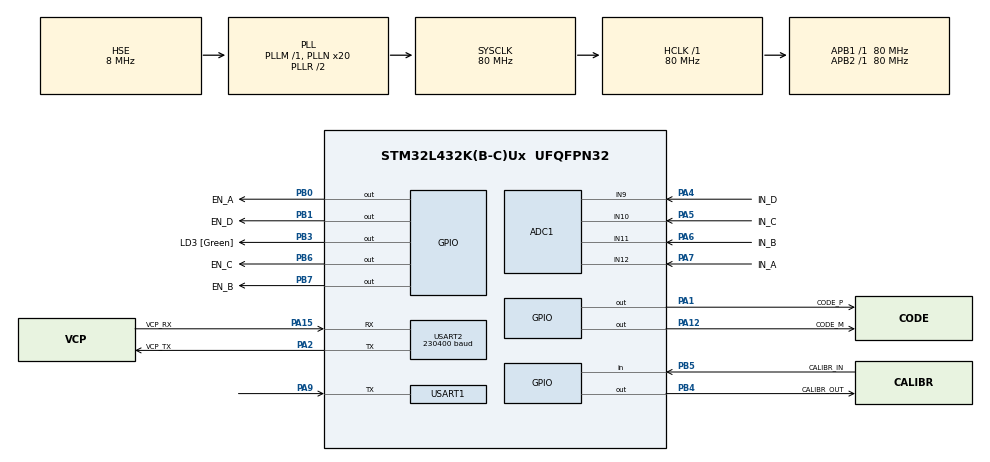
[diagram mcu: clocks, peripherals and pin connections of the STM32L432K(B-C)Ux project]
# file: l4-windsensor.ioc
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ADC1.Channel-0\#ChannelRegularConversion=ADC_CHANNEL_10
ADC1.DMAContinuousRequests=ENABLE
ADC1.ExternalTrigConv=ADC_EXTERNALTRIG_T1_TRGO
ADC1.NbrOfConversionFlag=1
ADC1.OffsetNumber-0\#ChannelRegularConversion=ADC_OFFSET_NONE
ADC1.Rank-0\#ChannelRegularConversion=1
ADC1.SamplingTime-0\#ChannelRegularConversion=ADC_SAMPLETIME_2CYCLES_5
ADC1.master=1
Dma.ADC1.0.Direction=DMA_PERIPH_TO_MEMORY
Dma.ADC1.0.Instance=DMA2_Channel3
Dma.ADC1.0.MemDataAlignment=DMA_MDATAALIGN_HALFWORD
Dma.ADC1.0.MemInc=DMA_MINC_ENABLE
Dma.ADC1.0.Mode=DMA_NORMAL
Dma.ADC1.0.PeriphDataAlignment=DMA_PDATAALIGN_HALFWORD
Dma.ADC1.0.PeriphInc=DMA_PINC_DISABLE
Dma.ADC1.0.Priority=DMA_PRIORITY_LOW
Dma.Request0=ADC1
Dma.Request1=USART2_TX
Dma.Request2=TIM2_UP
Dma.TIM2_UP.2.Direction=DMA_MEMORY_TO_PERIPH
Dma.TIM2_UP.2.Instance=DMA1_Channel2
Dma.TIM2_UP.2.MemDataAlignment=DMA_MDATAALIGN_HALFWORD
Dma.TIM2_UP.2.MemInc=DMA_MINC_ENABLE
Dma.TIM2_UP.2.Mode=DMA_NORMAL
Dma.TIM2_UP.2.PeriphDataAlignment=DMA_PDATAALIGN_HALFWORD
Dma.TIM2_UP.2.PeriphInc=DMA_PINC_DISABLE
Dma.TIM2_UP.2.Priority=DMA_PRIORITY_LOW
Dma.USART2_TX.1.Direction=DMA_MEMORY_TO_PERIPH
Dma.USART2_TX.1.Instance=DMA1_Channel7
Dma.USART2_TX.1.MemDataAlignment=DMA_MDATAALIGN_BYTE
Dma.USART2_TX.1.MemInc=DMA_MINC_ENABLE
Dma.USART2_TX.1.Mode=DMA_NORMAL
Dma.USART2_TX.1.PeriphDataAlignment=DMA_PDATAALIGN_BYTE
Dma.USART2_TX.1.PeriphInc=DMA_PINC_DISABLE
Dma.USART2_TX.1.Priority=DMA_PRIORITY_LOW
Mcu.Family=STM32L4
Mcu.Name=STM32L432K(B-C)Ux
Mcu.Package=UFQFPN32
NVIC.DMA1_Channel2_IRQn=true\:0\:0\:false\:false\:true
NVIC.DMA1_Channel7_IRQn=true\:0\:0\:false\:false\:true
NVIC.DMA2_Channel3_IRQn=true\:0\:0\:false\:false\:true
NVIC.PriorityGroup=NVIC_PRIORITYGROUP_4
PA0.GPIO_Label=MCO [High speed clock in]
PA0.Mode=HSE-External-Clock-Source-for-LittleOrca
PA0.Signal=RCC_CK_IN
PA1.GPIO_Label=CODE_P
PA1.GPIO_PuPd=GPIO_PULLDOWN
PA1.GPIO_Speed=GPIO_SPEED_FREQ_MEDIUM
PA1.Signal=GPIO_Output
PA12.GPIO_Label=CODE_M
PA12.GPIO_PuPd=GPIO_PULLDOWN
PA12.GPIO_Speed=GPIO_SPEED_FREQ_MEDIUM
PA12.Signal=GPIO_Output
PA13\ (JTMS-SWDIO).GPIO_Label=SWDIO
PA13\ (JTMS-SWDIO).Mode=Serial_Wire
PA13\ (JTMS-SWDIO).Signal=SYS_JTMS-SWDIO
PA14\ (JTCK-SWCLK).GPIO_Label=SWCLK
PA14\ (JTCK-SWCLK).Mode=Serial_Wire
PA14\ (JTCK-SWCLK).Signal=SYS_JTCK-SWCLK
PA15\ (JTDI).GPIO_Label=VCP_RX
PA15\ (JTDI).Mode=Asynchronous
PA15\ (JTDI).Signal=USART2_RX
PA2.GPIO_Label=VCP_TX
PA2.Mode=Asynchronous
PA2.Signal=USART2_TX
PA3.Signal=LPUART1_RX
PA4.GPIO_Label=IN_D
PA4.Signal=ADCx_IN9
PA5.GPIO_Label=IN_C
PA5.Signal=ADCx_IN10
PA6.GPIO_Label=IN_B
PA6.Signal=ADCx_IN11
PA7.GPIO_Label=IN_A
PA7.Signal=ADCx_IN12
PA9.Mode=Half_duplex(single_wire_mode)
PA9.Signal=USART1_TX
PB0.GPIO_Label=EN_A
PB0.GPIO_ModeDefaultOutputPP=GPIO_MODE_OUTPUT_PP
PB0.GPIO_PuPd=GPIO_PULLDOWN
PB0.GPIO_Speed=GPIO_SPEED_FREQ_LOW
PB0.PinState=GPIO_PIN_RESET
PB0.Signal=GPIO_Output
PB1.GPIO_Label=EN_D
PB1.GPIO_ModeDefaultOutputPP=GPIO_MODE_OUTPUT_PP
PB1.GPIO_PuPd=GPIO_PULLDOWN
PB1.Signal=GPIO_Output
PB3\ (JTDO-TRACESWO).GPIO_Label=LD3 [Green]
PB3\ (JTDO-TRACESWO).Signal=GPIO_Output
PB4\ (NJTRST).GPIO_Label=CALIBR_OUT
PB4\ (NJTRST).GPIO_PuPd=GPIO_PULLDOWN
PB4\ (NJTRST).Signal=GPIO_Output
PB5.GPIO_Label=CALIBR_IN
PB5.GPIO_PuPd=GPIO_PULLUP
PB5.Signal=GPIO_Input
PB6.GPIO_Label=EN_C
PB6.GPIO_PuPd=GPIO_PULLDOWN
PB6.Signal=GPIO_Output
PB7.GPIO_Label=EN_B
PB7.GPIO_PuPd=GPIO_PULLDOWN
PB7.Signal=GPIO_Output
PC14-OSC32_IN\ (PC14).Mode=LSE-External-Oscillator
PC14-OSC32_IN\ (PC14).Signal=RCC_OSC32_IN
PC15-OSC32_OUT\ (PC15).Mode=LSE-External-Oscillator
PC15-OSC32_OUT\ (PC15).Signal=RCC_OSC32_OUT
ProjectManager.HeapSize=0x200
ProjectManager.StackSize=0x400
ProjectManager.TargetToolchain=SW4STM32
RCC.ADCCLockSelection=RCC_ADCCLKSOURCE_SYSCLK
RCC.ADCFreq_Value=80000000
RCC.AHBFreq_Value=80000000
RCC.APB1Freq_Value=80000000
RCC.APB1TimFreq_Value=80000000
RCC.APB2Freq_Value=80000000
RCC.APB2TimFreq_Value=80000000
RCC.CortexFreq_Value=80000000
RCC.HCLKFreq_Value=80000000
RCC.HSE_VALUE=8000000
RCC.HSI16_VALUE=16000000
RCC.HSI48_VALUE=48000000
RCC.HSI_VALUE=16000000
RCC.MSIClockRange=RCC_MSIRANGE_4
RCC.MSI_VALUE=1000000
RCC.PLLMUL=RCC_PLLMUL_4
RCC.PLLN=20
RCC.PLLSAI1N=16
RCC.PLLSourceVirtual=RCC_PLLSOURCE_HSE
RCC.PREFETCH_ENABLE=1
RCC.SYSCLKFreq_VALUE=80000000
RCC.SYSCLKSource=RCC_SYSCLKSOURCE_PLLCLK
RCC.USBFreq_Value=64000000
RCC.VCOOutputFreq_Value=160000000
SH.ADCx_IN10.0=ADC1_IN10,IN10-Single-Ended
SH.ADCx_IN11.0=ADC1_IN11,IN11-Single-Ended
SH.ADCx_IN12.0=ADC1_IN12,IN12-Single-Ended
SH.ADCx_IN9.0=ADC1_IN9,IN9-Single-Ended
TIM1.Period=19
TIM1.TIM_MasterOutputTrigger=TIM_TRGO_UPDATE
TIM1.TIM_MasterSlaveMode=TIM_MASTERSLAVEMODE_ENABLE
TIM2.Period=49
TIM2.TIM_MasterOutputTrigger=TIM_TRGO_UPDATE
USART1.Mode=MODE_RX
USART1.SwapParam=UART_ADVFEATURE_SWAP_ENABLE
USART1.VirtualMode-Half_duplex(single_wire_mode)=VM_ASYNC
USART1.WordLength=WORDLENGTH_8B
USART2.BaudRate=230400
USART2.VirtualMode-Asynchronous=VM_ASYNC
USART2.WordLength=WORDLENGTH_8B
VP_TIM1_VS_ClockSourceINT.Mode=Internal
VP_TIM2_VS_ClockSourceITR.Mode=TriggerSource_ITR0
VP_TIM2_VS_ControllerModeClock.Mode=Clock Mode
board=NUCLEO-L432KC

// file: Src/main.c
/**
  ******************************************************************************
  * File Name          : main.c
  * Description        : Main program body
  ******************************************************************************
  ** This notice applies to any and all portions of this file
  * that are not between comment pairs USER CODE BEGIN and
  * USER CODE END. Other portions of this file, whether
  * inserted by the user or by software development tools
  * are owned by their respective copyright owners.
  *
  * COPYRIGHT(c) 2017 STMicroelectronics
  *
  * Redistribution and use in source and binary forms, with or without modification,
  * are permitted provided that the following conditions are met:
  *   1. Redistributions of source code must retain the above copyright notice,
  *      this list of conditions and the following disclaimer.
  *   2. Redistributions in binary form must reproduce the above copyright notice,
  *      this list of conditions and the following disclaimer in the documentation
  *      and/or other materials provided with the distribution.
  *   3. Neither the name of STMicroelectronics nor the names of its contributors
  *      may be used to endorse or promote products derived from this software
  *      without specific prior written permission.
  *
  * THIS SOFTWARE IS PROVIDED BY THE COPYRIGHT HOLDERS AND CONTRIBUTORS "AS IS"
  * AND ANY EXPRESS OR IMPLIED WARRANTIES, INCLUDING, BUT NOT LIMITED TO, THE
  * IMPLIED WARRANTIES OF MERCHANTABILITY AND FITNESS FOR A PARTICULAR PURPOSE ARE
  * DISCLAIMED. IN NO EVENT SHALL THE COPYRIGHT HOLDER OR CONTRIBUTORS BE LIABLE
  * FOR ANY DIRECT, INDIRECT, INCIDENTAL, SPECIAL, EXEMPLARY, OR CONSEQUENTIAL
  * DAMAGES (INCLUDING, BUT NOT LIMITED TO, PROCUREMENT OF SUBSTITUTE GOODS OR
  * SERVICES; LOSS OF USE, DATA, OR PROFITS; OR BUSINESS INTERRUPTION) HOWEVER
  * CAUSED AND ON ANY THEORY OF LIABILITY, WHETHER IN CONTRACT, STRICT LIABILITY,
  * OR TORT (INCLUDING NEGLIGENCE OR OTHERWISE) ARISING IN ANY WAY OUT OF THE USE
  * OF THIS SOFTWARE, EVEN IF ADVISED OF THE POSSIBILITY OF SUCH DAMAGE.
  *
  ******************************************************************************
  */
#include "main.h"
#include "stm32l4xx_hal.h"

/* USER CODE BEGIN Includes */
#include <windsounder.h>
#include <stdlib.h>
#include <errno.h>

/* USER CODE END Includes */

ADC_HandleTypeDef hadc1;
DMA_HandleTypeDef hdma_adc1;

TIM_HandleTypeDef htim1;
TIM_HandleTypeDef htim2;
DMA_HandleTypeDef hdma_tim2_up;

UART_HandleTypeDef huart1;
UART_HandleTypeDef huart2;
DMA_HandleTypeDef hdma_usart2_tx;

/* USER CODE BEGIN PV */
/* Private variables ---------------------------------------------------------*/

bool sendDetails = false;
/* USER CODE END PV */

void SystemClock_Config(void);
static void MX_GPIO_Init(void);
static void MX_DMA_Init(void);
static void MX_USART2_UART_Init(void);
static void MX_ADC1_Init(void);
static void MX_TIM1_Init(void);
static void MX_TIM2_Init(void);
static void MX_USART1_UART_Init(void);

/* USER CODE BEGIN PFP */
/* Private function prototypes -----------------------------------------------*/

/* USER CODE END PFP */

/* USER CODE BEGIN 0 */

#pragma clang diagnostic push
#pragma ide diagnostic ignored "OCUnusedGlobalDeclarationInspection"

int *__errno(void) {
  static int my_errno;
  return &my_errno;
}

#pragma clang diagnostic pop

void transmitFrame(const char *name, const q15_t *outRange, size_t len) {
  if (!sendDetails) return;
  uartTransmit("START\r\n");
  uartTransmit(name);
  for (int i = 0; i < len; i++) {
    char buf[50];
    itoa(outRange[i], buf, 10);
    uartTransmit("\r\n");
    uartTransmit(buf);
  }
  uartTransmit("\r\nEND\r\n");
}

bool isCalibrationJumperSet() {
  return HAL_GPIO_ReadPin(CALIBR_IN_GPIO_Port, CALIBR_IN_Pin) == GPIO_PIN_RESET;
}
/* USER CODE END 0 */

int main(void)
{

  /* MCU Configuration----------------------------------------------------------*/

  /* Reset of all peripherals, Initializes the Flash interface and the Systick. */
  HAL_Init();

  /* Configure the system clock */
  SystemClock_Config();

  /* Initialize all configured peripherals */
  MX_GPIO_Init();
  MX_DMA_Init();
  MX_USART2_UART_Init();
  MX_ADC1_Init();
  MX_TIM1_Init();
  MX_TIM2_Init();
  MX_USART1_UART_Init();

  /* USER CODE BEGIN 2 */
  __HAL_TIM_ENABLE_DMA(&htim2, TIM_DMA_UPDATE);
  HAL_TIM_Base_Start(&htim2);
  HAL_GPIO_LockPin(GPIOA, GPIO_PIN_0 | /*GPIO_PIN_1 |*/GPIO_PIN_2 | GPIO_PIN_3 |
                          GPIO_PIN_4 |   GPIO_PIN_5 |  GPIO_PIN_6 | GPIO_PIN_7 |
                          GPIO_PIN_8 |   GPIO_PIN_9 |  GPIO_PIN_10| GPIO_PIN_11|
                       /* GPIO_PIN_12|*/ GPIO_PIN_13|  GPIO_PIN_14| GPIO_PIN_15);

  /* USER CODE END 2 */

  /* Infinite loop */
  /* USER CODE BEGIN WHILE */

  if (isCalibrationJumperSet()) {
    calibrate();
  }

  checkCalibrated();
  /* Todo check if signal levels are ok*/
#pragma clang diagnostic push
#pragma clang diagnostic ignored "-Wmissing-noreturn"
  while (1)
  {
  /* USER CODE END WHILE */

  /* USER CODE BEGIN 3 */
    if(isCalibrationJumperSet()) sendDetails = true;
//    sendDetails=false;
    HAL_GPIO_TogglePin(LD3_GPIO_Port, LD3_Pin);
    performMeasurement();

    HAL_Delay(100);

  }
#pragma clang diagnostic pop
  /* USER CODE END 3 */

}

/** System Clock Configuration
*/
void SystemClock_Config(void)
{

  RCC_OscInitTypeDef RCC_OscInitStruct;
  RCC_ClkInitTypeDef RCC_ClkInitStruct;
  RCC_PeriphCLKInitTypeDef PeriphClkInit;

    /**Initializes the CPU, AHB and APB busses clocks
    */
  RCC_OscInitStruct.OscillatorType = RCC_OSCILLATORTYPE_HSE;
  RCC_OscInitStruct.HSEState = RCC_HSE_BYPASS;
  RCC_OscInitStruct.PLL.PLLState = RCC_PLL_ON;
  RCC_OscInitStruct.PLL.PLLSource = RCC_PLLSOURCE_HSE;
  RCC_OscInitStruct.PLL.PLLM = 1;
  RCC_OscInitStruct.PLL.PLLN = 20;
  RCC_OscInitStruct.PLL.PLLP = RCC_PLLP_DIV7;
  RCC_OscInitStruct.PLL.PLLQ = RCC_PLLQ_DIV2;
  RCC_OscInitStruct.PLL.PLLR = RCC_PLLR_DIV2;
  if (HAL_RCC_OscConfig(&RCC_OscInitStruct) != HAL_OK)
  {
    _Error_Handler(__FILE__, __LINE__);
  }

    /**Initializes the CPU, AHB and APB busses clocks
    */
  RCC_ClkInitStruct.ClockType = RCC_CLOCKTYPE_HCLK|RCC_CLOCKTYPE_SYSCLK
                              |RCC_CLOCKTYPE_PCLK1|RCC_CLOCKTYPE_PCLK2;
  RCC_ClkInitStruct.SYSCLKSource = RCC_SYSCLKSOURCE_PLLCLK;
  RCC_ClkInitStruct.AHBCLKDivider = RCC_SYSCLK_DIV1;
  RCC_ClkInitStruct.APB1CLKDivider = RCC_HCLK_DIV1;
  RCC_ClkInitStruct.APB2CLKDivider = RCC_HCLK_DIV1;

  if (HAL_RCC_ClockConfig(&RCC_ClkInitStruct, FLASH_LATENCY_4) != HAL_OK)
  {
    _Error_Handler(__FILE__, __LINE__);
  }

  PeriphClkInit.PeriphClockSelection = RCC_PERIPHCLK_USART1|RCC_PERIPHCLK_USART2
                              |RCC_PERIPHCLK_ADC;
  PeriphClkInit.Usart1ClockSelection = RCC_USART1CLKSOURCE_PCLK2;
  PeriphClkInit.Usart2ClockSelection = RCC_USART2CLKSOURCE_PCLK1;
  PeriphClkInit.AdcClockSelection = RCC_ADCCLKSOURCE_SYSCLK;
  if (HAL_RCCEx_PeriphCLKConfig(&PeriphClkInit) != HAL_OK)
  {
    _Error_Handler(__FILE__, __LINE__);
  }

    /**Configure the main internal regulator output voltage
    */
  if (HAL_PWREx_ControlVoltageScaling(PWR_REGULATOR_VOLTAGE_SCALE1) != HAL_OK)
  {
    _Error_Handler(__FILE__, __LINE__);
  }

    /**Configure the Systick interrupt time
    */
  HAL_SYSTICK_Config(HAL_RCC_GetHCLKFreq()/1000);

    /**Configure the Systick
    */
  HAL_SYSTICK_CLKSourceConfig(SYSTICK_CLKSOURCE_HCLK);

  /* SysTick_IRQn interrupt configuration */
  HAL_NVIC_SetPriority(SysTick_IRQn, 0, 0);
}

/* ADC1 init function */
static void MX_ADC1_Init(void)
{

  ADC_ChannelConfTypeDef sConfig;

    /**Common config
    */
  hadc1.Instance = ADC1;
  hadc1.Init.ClockPrescaler = ADC_CLOCK_ASYNC_DIV1;
  hadc1.Init.Resolution = ADC_RESOLUTION_12B;
  hadc1.Init.DataAlign = ADC_DATAALIGN_RIGHT;
  hadc1.Init.ScanConvMode = ADC_SCAN_DISABLE;
  hadc1.Init.EOCSelection = ADC_EOC_SINGLE_CONV;
  hadc1.Init.LowPowerAutoWait = DISABLE;
  hadc1.Init.ContinuousConvMode = DISABLE;
  hadc1.Init.NbrOfConversion = 1;
  hadc1.Init.DiscontinuousConvMode = DISABLE;
  hadc1.Init.NbrOfDiscConversion = 1;
  hadc1.Init.ExternalTrigConv = ADC_EXTERNALTRIG_T1_TRGO;
  hadc1.Init.ExternalTrigConvEdge = ADC_EXTERNALTRIGCONVEDGE_RISING;
  hadc1.Init.DMAContinuousRequests = ENABLE;
  hadc1.Init.Overrun = ADC_OVR_DATA_PRESERVED;
  hadc1.Init.OversamplingMode = DISABLE;
  if (HAL_ADC_Init(&hadc1) != HAL_OK)
  {
    _Error_Handler(__FILE__, __LINE__);
  }

    /**Configure Regular Channel
    */
  sConfig.Channel = ADC_CHANNEL_10;
  sConfig.Rank = 1;
  sConfig.SamplingTime = ADC_SAMPLETIME_2CYCLES_5;
  sConfig.SingleDiff = ADC_SINGLE_ENDED;
  sConfig.OffsetNumber = ADC_OFFSET_NONE;
  sConfig.Offset = 0;
  if (HAL_ADC_ConfigChannel(&hadc1, &sConfig) != HAL_OK)
  {
    _Error_Handler(__FILE__, __LINE__);
  }

}

/* TIM1 init function */
static void MX_TIM1_Init(void)
{

  TIM_ClockConfigTypeDef sClockSourceConfig;
  TIM_MasterConfigTypeDef sMasterConfig;

  htim1.Instance = TIM1;
  htim1.Init.Prescaler = 0;
  htim1.Init.CounterMode = TIM_COUNTERMODE_UP;
  htim1.Init.Period = 39;
  htim1.Init.ClockDivision = TIM_CLOCKDIVISION_DIV1;
  htim1.Init.RepetitionCounter = 0;
  if (HAL_TIM_Base_Init(&htim1) != HAL_OK)
  {
    _Error_Handler(__FILE__, __LINE__);
  }

  sClockSourceConfig.ClockSource = TIM_CLOCKSOURCE_INTERNAL;
  if (HAL_TIM_ConfigClockSource(&htim1, &sClockSourceConfig) != HAL_OK)
  {
    _Error_Handler(__FILE__, __LINE__);
  }

  sMasterConfig.MasterOutputTrigger = TIM_TRGO_UPDATE;
  sMasterConfig.MasterOutputTrigger2 = TIM_TRGO2_RESET;
  sMasterConfig.MasterSlaveMode = TIM_MASTERSLAVEMODE_ENABLE;
  if (HAL_TIMEx_MasterConfigSynchronization(&htim1, &sMasterConfig) != HAL_OK)
  {
    _Error_Handler(__FILE__, __LINE__);
  }

}

/* TIM2 init function */
static void MX_TIM2_Init(void)
{

  TIM_SlaveConfigTypeDef sSlaveConfig;
  TIM_MasterConfigTypeDef sMasterConfig;

  htim2.Instance = TIM2;
  htim2.Init.Prescaler = 0;
  htim2.Init.CounterMode = TIM_COUNTERMODE_UP;
  htim2.Init.Period = 24;
  htim2.Init.ClockDivision = TIM_CLOCKDIVISION_DIV1;
  if (HAL_TIM_Base_Init(&htim2) != HAL_OK)
  {
    _Error_Handler(__FILE__, __LINE__);
  }

  sSlaveConfig.SlaveMode = TIM_SLAVEMODE_EXTERNAL1;
  sSlaveConfig.InputTrigger = TIM_TS_ITR0;
  if (HAL_TIM_SlaveConfigSynchronization(&htim2, &sSlaveConfig) != HAL_OK)
  {
    _Error_Handler(__FILE__, __LINE__);
  }

  sMasterConfig.MasterOutputTrigger = TIM_TRGO_UPDATE;
  sMasterConfig.MasterSlaveMode = TIM_MASTERSLAVEMODE_DISABLE;
  if (HAL_TIMEx_MasterConfigSynchronization(&htim2, &sMasterConfig) != HAL_OK)
  {
    _Error_Handler(__FILE__, __LINE__);
  }

}

/* USART1 init function */
static void MX_USART1_UART_Init(void)
{

  huart1.Instance = USART1;
  huart1.Init.BaudRate = 115200;
  huart1.Init.WordLength = UART_WORDLENGTH_8B;
  huart1.Init.StopBits = UART_STOPBITS_1;
  huart1.Init.Parity = UART_PARITY_NONE;
  huart1.Init.Mode = UART_MODE_RX;
  huart1.Init.HwFlowCtl = UART_HWCONTROL_NONE;
  huart1.Init.OverSampling = UART_OVERSAMPLING_16;
  huart1.Init.OneBitSampling = UART_ONE_BIT_SAMPLE_DISABLE;
  huart1.AdvancedInit.AdvFeatureInit = UART_ADVFEATURE_SWAP_INIT;
  huart1.AdvancedInit.Swap = UART_ADVFEATURE_SWAP_ENABLE;
  if (HAL_HalfDuplex_Init(&huart1) != HAL_OK)
  {
    _Error_Handler(__FILE__, __LINE__);
  }

}

/* USART2 init function */
static void MX_USART2_UART_Init(void)
{

  huart2.Instance = USART2;
//  huart2.Init.BaudRate = 115200;
  huart2.Init.BaudRate = 230400;
  huart2.Init.WordLength = UART_WORDLENGTH_8B;
  huart2.Init.StopBits = UART_STOPBITS_1;
  huart2.Init.Parity = UART_PARITY_NONE;
  huart2.Init.Mode = UART_MODE_TX_RX;
  huart2.Init.HwFlowCtl = UART_HWCONTROL_NONE;
  huart2.Init.OverSampling = UART_OVERSAMPLING_16;
  huart2.Init.OneBitSampling = UART_ONE_BIT_SAMPLE_DISABLE;
  huart2.AdvancedInit.AdvFeatureInit = UART_ADVFEATURE_NO_INIT;
  if (HAL_UART_Init(&huart2) != HAL_OK)
  {
    _Error_Handler(__FILE__, __LINE__);
  }

}

static void MX_DMA_Init(void)
{
  /* DMA controller clock enable */
  __HAL_RCC_DMA2_CLK_ENABLE();
  __HAL_RCC_DMA1_CLK_ENABLE();

  /* DMA interrupt init */
  /* DMA1_Channel2_IRQn interrupt configuration */
  HAL_NVIC_SetPriority(DMA1_Channel2_IRQn, 0, 0);
  HAL_NVIC_EnableIRQ(DMA1_Channel2_IRQn);
  /* DMA1_Channel7_IRQn interrupt configuration */
  HAL_NVIC_SetPriority(DMA1_Channel7_IRQn, 0, 0);
  HAL_NVIC_EnableIRQ(DMA1_Channel7_IRQn);
  /* DMA2_Channel3_IRQn interrupt configuration */
  HAL_NVIC_SetPriority(DMA2_Channel3_IRQn, 0, 0);
  HAL_NVIC_EnableIRQ(DMA2_Channel3_IRQn);

}

/** Configure pins as
        * Analog
        * Input
        * Output
        * EVENT_OUT
        * EXTI
     PA3   ------> LPUART1_RX
*/
static void MX_GPIO_Init(void)
{

  GPIO_InitTypeDef GPIO_InitStruct;

  /* GPIO Ports Clock Enable */
  __HAL_RCC_GPIOC_CLK_ENABLE();
  __HAL_RCC_GPIOA_CLK_ENABLE();
  __HAL_RCC_GPIOB_CLK_ENABLE();

  /*Configure GPIO pin Output Level */
  HAL_GPIO_WritePin(GPIOA, CODE_P_Pin|CODE_M_Pin, GPIO_PIN_RESET);

  /*Configure GPIO pin Output Level */
  HAL_GPIO_WritePin(GPIOB, EN_A_Pin|EN_D_Pin|LD3_Pin|CALIBR_OUT_Pin
                          |EN_C_Pin|EN_B_Pin, GPIO_PIN_RESET);

  /*Configure GPIO pins : CODE_P_Pin CODE_M_Pin */
  GPIO_InitStruct.Pin = CODE_P_Pin|CODE_M_Pin;
  GPIO_InitStruct.Mode = GPIO_MODE_OUTPUT_PP;
  GPIO_InitStruct.Pull = GPIO_PULLDOWN;
  GPIO_InitStruct.Speed = GPIO_SPEED_FREQ_MEDIUM;
  HAL_GPIO_Init(GPIOA, &GPIO_InitStruct);

  /*Configure GPIO pin : PA3 */
  GPIO_InitStruct.Pin = GPIO_PIN_3;
  GPIO_InitStruct.Mode = GPIO_MODE_AF_PP;
  GPIO_InitStruct.Pull = GPIO_NOPULL;
  GPIO_InitStruct.Speed = GPIO_SPEED_FREQ_VERY_HIGH;
  GPIO_InitStruct.Alternate = GPIO_AF8_LPUART1;
  HAL_GPIO_Init(GPIOA, &GPIO_InitStruct);

  /*Configure GPIO pins : EN_A_Pin EN_D_Pin CALIBR_OUT_Pin EN_C_Pin
                           EN_B_Pin */
  GPIO_InitStruct.Pin = EN_A_Pin|EN_D_Pin|CALIBR_OUT_Pin|EN_C_Pin
                          |EN_B_Pin;
  GPIO_InitStruct.Mode = GPIO_MODE_OUTPUT_PP;
  GPIO_InitStruct.Pull = GPIO_PULLDOWN;
  GPIO_InitStruct.Speed = GPIO_SPEED_FREQ_LOW;
  HAL_GPIO_Init(GPIOB, &GPIO_InitStruct);

  /*Configure GPIO pin : LD3_Pin */
  GPIO_InitStruct.Pin = LD3_Pin;
  GPIO_InitStruct.Mode = GPIO_MODE_OUTPUT_PP;
  GPIO_InitStruct.Pull = GPIO_NOPULL;
  GPIO_InitStruct.Speed = GPIO_SPEED_FREQ_LOW;
  HAL_GPIO_Init(LD3_GPIO_Port, &GPIO_InitStruct);

  /*Configure GPIO pin : CALIBR_IN_Pin */
  GPIO_InitStruct.Pin = CALIBR_IN_Pin;
  GPIO_InitStruct.Mode = GPIO_MODE_INPUT;
  GPIO_InitStruct.Pull = GPIO_PULLUP;
  HAL_GPIO_Init(CALIBR_IN_GPIO_Port, &GPIO_InitStruct);

}

void uartTransmit(const char *str) { HAL_UART_Transmit(&huart2, (uint8_t *) str, (uint16_t) strlen(str), 20000); }

void _Error_Handler(char * file, int line)
{
  /* USER CODE BEGIN Error_Handler_Debug */
  /* Blink 5Hz LED in case of error*/
#pragma clang diagnostic push
#pragma clang diagnostic ignored "-Wmissing-noreturn"
  static int loopcount = 0;
  while (1)
  {
    HAL_GPIO_TogglePin(LD3_GPIO_Port, LD3_Pin);
    HAL_Delay(100);
    if (++loopcount >= 10) {
      char buff[200];
      snprintf(buff, sizeof buff, "File: %s, line: %d\r\n", file, line);
      uartTransmit(buff);
      loopcount = 0;
    }
  }
#pragma clang diagnostic pop
  /* USER CODE END Error_Handler_Debug */
}

/************************ (C) COPYRIGHT STMicroelectronics *****END OF FILE****/
